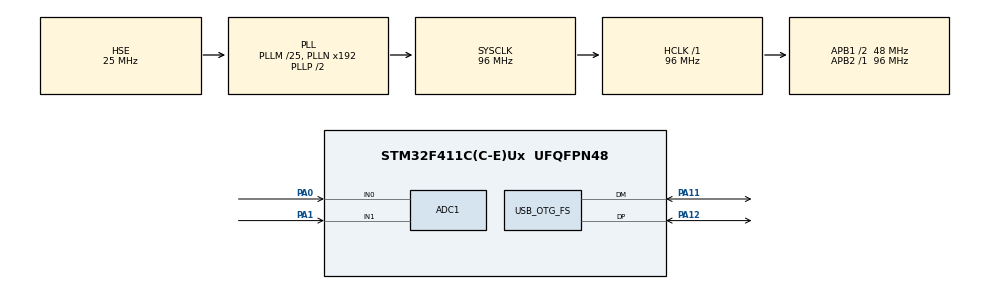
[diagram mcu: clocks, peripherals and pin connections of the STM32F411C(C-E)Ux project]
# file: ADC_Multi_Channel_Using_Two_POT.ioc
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ADC1.Channel-0\#ChannelRegularConversion=ADC_CHANNEL_0
ADC1.Channel-1\#ChannelRegularConversion=ADC_CHANNEL_1
ADC1.EOCSelection=ADC_EOC_SEQ_CONV
ADC1.NbrOfConversion=2
ADC1.NbrOfConversionFlag=1
ADC1.Rank-0\#ChannelRegularConversion=1
ADC1.Rank-1\#ChannelRegularConversion=2
ADC1.SamplingTime-0\#ChannelRegularConversion=ADC_SAMPLETIME_144CYCLES
ADC1.SamplingTime-1\#ChannelRegularConversion=ADC_SAMPLETIME_480CYCLES
ADC1.ScanConvMode=ENABLE
ADC1.master=1
Dma.ADC1.0.Direction=DMA_PERIPH_TO_MEMORY
Dma.ADC1.0.FIFOMode=DMA_FIFOMODE_DISABLE
Dma.ADC1.0.Instance=DMA2_Stream0
Dma.ADC1.0.MemDataAlignment=DMA_MDATAALIGN_HALFWORD
Dma.ADC1.0.MemInc=DMA_MINC_ENABLE
Dma.ADC1.0.Mode=DMA_NORMAL
Dma.ADC1.0.PeriphDataAlignment=DMA_PDATAALIGN_HALFWORD
Dma.ADC1.0.PeriphInc=DMA_PINC_DISABLE
Dma.ADC1.0.Priority=DMA_PRIORITY_LOW
Dma.Request0=ADC1
Mcu.Family=STM32F4
Mcu.Name=STM32F411C(C-E)Ux
Mcu.Package=UFQFPN48
NVIC.DMA2_Stream0_IRQn=true\:0\:0\:false\:false\:true\:false\:true\:true
NVIC.OTG_FS_IRQn=true\:0\:0\:false\:false\:true\:false\:true\:true
NVIC.PriorityGroup=NVIC_PRIORITYGROUP_4
PA0-WKUP.Signal=ADCx_IN0
PA1.Signal=ADCx_IN1
PA11.Mode=Device_Only
PA11.Signal=USB_OTG_FS_DM
PA12.Mode=Device_Only
PA12.Signal=USB_OTG_FS_DP
PH0\ -\ OSC_IN.Mode=HSE-External-Oscillator
PH0\ -\ OSC_IN.Signal=RCC_OSC_IN
PH1\ -\ OSC_OUT.Mode=HSE-External-Oscillator
PH1\ -\ OSC_OUT.Signal=RCC_OSC_OUT
ProjectManager.HeapSize=0x200
ProjectManager.StackSize=0x400
ProjectManager.TargetToolchain=STM32CubeIDE
RCC.48MHZClocksFreq_Value=48000000
RCC.AHBFreq_Value=96000000
RCC.APB1CLKDivider=RCC_HCLK_DIV2
RCC.APB1Freq_Value=48000000
RCC.APB1TimFreq_Value=96000000
RCC.APB2Freq_Value=96000000
RCC.APB2TimFreq_Value=96000000
RCC.CortexFreq_Value=96000000
RCC.HCLKFreq_Value=96000000
RCC.HSE_VALUE=25000000
RCC.HSI_VALUE=16000000
RCC.LSE_VALUE=32768
RCC.PLLM=25
RCC.SYSCLKFreq_VALUE=96000000
RCC.SYSCLKSource=RCC_SYSCLKSOURCE_PLLCLK
RCC.VCOOutputFreq_Value=192000000
SH.ADCx_IN0.0=ADC1_IN0,IN0
SH.ADCx_IN1.0=ADC1_IN1,IN1
USB_DEVICE.CLASS_NAME_FS=CDC
USB_DEVICE.VirtualMode=Cdc
USB_DEVICE.VirtualModeFS=Cdc_FS
USB_OTG_FS.VirtualMode=Device_Only
VP_USB_DEVICE_VS_USB_DEVICE_CDC_FS.Mode=CDC_FS
board=custom

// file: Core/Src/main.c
/* USER CODE BEGIN Header */
/**
  ******************************************************************************
  * @file           : main.c
  * @brief          : Main program body
  ******************************************************************************
  * @attention
  *
  * Copyright (c) 2025 STMicroelectronics.
  * All rights reserved.
  *
  * This software is licensed under terms that can be found in the LICENSE file
  * in the root directory of this software component.
  * If no LICENSE file comes with this software, it is provided AS-IS.
  *
  ******************************************************************************
  */
/* USER CODE END Header */
#include "main.h"
#include "usb_device.h"

/* USER CODE BEGIN Includes */
#include <stdio.h>
#include <string.h>
/* USER CODE END Includes */

ADC_HandleTypeDef hadc1;
DMA_HandleTypeDef hdma_adc1;

/* USER CODE BEGIN PV */
uint16_t pot=0;
uint16_t pot1=0;
/* USER CODE END PV */

void SystemClock_Config(void);
static void MX_GPIO_Init(void);
static void MX_DMA_Init(void);
static void MX_ADC1_Init(void);

/* USER CODE BEGIN 0 */
uint16_t ADC_Value[2];
int isADCFinished = 0;
int count = 0;
char msg[20];

void HAL_ADC_ConvCpltCallback(ADC_HandleTypeDef *hadc)
{
	isADCFinished = 1;
}
/* USER CODE END 0 */

int main(void)
{

  /* MCU Configuration--------------------------------------------------------*/

  /* Reset of all peripherals, Initializes the Flash interface and the Systick. */
  HAL_Init();

  /* Configure the system clock */
  SystemClock_Config();

  /* Initialize all configured peripherals */
  MX_GPIO_Init();
  MX_DMA_Init();
  MX_ADC1_Init();
  MX_USB_DEVICE_Init();
  /* USER CODE BEGIN 2 */
  HAL_ADC_Start_DMA(&hadc1, ADC_Value, 2);
  /* USER CODE END 2 */

  /* Infinite loop */
  while (1)
  {

    /* USER CODE BEGIN 3 */
	  count++;
	  if (isADCFinished == 1)
	  {
		  isADCFinished = 0;
		  HAL_ADC_Start_DMA(&hadc1, ADC_Value, 2);
	  }
	  pot = ADC_Value[0];
	  pot1 = ADC_Value[1];
	  sprintf(msg, "POT: %hu \r\t\t", pot);
	  CDC_Transmit_FS((uint8_t*)msg, strlen(msg));
	  sprintf(msg, "POT1: %hu \r\n", pot1);
	  CDC_Transmit_FS((uint8_t*)msg, strlen(msg));
	  HAL_Delay(10);
  }
  /* USER CODE END 3 */
}

void SystemClock_Config(void)
{
  RCC_OscInitTypeDef RCC_OscInitStruct = {0};
  RCC_ClkInitTypeDef RCC_ClkInitStruct = {0};

  /** Configure the main internal regulator output voltage
  */
  __HAL_RCC_PWR_CLK_ENABLE();
  __HAL_PWR_VOLTAGESCALING_CONFIG(PWR_REGULATOR_VOLTAGE_SCALE1);

  /** Initializes the RCC Oscillators according to the specified parameters
  * in the RCC_OscInitTypeDef structure.
  */
  RCC_OscInitStruct.OscillatorType = RCC_OSCILLATORTYPE_HSE;
  RCC_OscInitStruct.HSEState = RCC_HSE_ON;
  RCC_OscInitStruct.PLL.PLLState = RCC_PLL_ON;
  RCC_OscInitStruct.PLL.PLLSource = RCC_PLLSOURCE_HSE;
  RCC_OscInitStruct.PLL.PLLM = 25;
  RCC_OscInitStruct.PLL.PLLN = 192;
  RCC_OscInitStruct.PLL.PLLP = RCC_PLLP_DIV2;
  RCC_OscInitStruct.PLL.PLLQ = 4;
  if (HAL_RCC_OscConfig(&RCC_OscInitStruct) != HAL_OK)
  {
    Error_Handler();
  }

  /** Initializes the CPU, AHB and APB buses clocks
  */
  RCC_ClkInitStruct.ClockType = RCC_CLOCKTYPE_HCLK|RCC_CLOCKTYPE_SYSCLK
                              |RCC_CLOCKTYPE_PCLK1|RCC_CLOCKTYPE_PCLK2;
  RCC_ClkInitStruct.SYSCLKSource = RCC_SYSCLKSOURCE_PLLCLK;
  RCC_ClkInitStruct.AHBCLKDivider = RCC_SYSCLK_DIV1;
  RCC_ClkInitStruct.APB1CLKDivider = RCC_HCLK_DIV2;
  RCC_ClkInitStruct.APB2CLKDivider = RCC_HCLK_DIV1;

  if (HAL_RCC_ClockConfig(&RCC_ClkInitStruct, FLASH_LATENCY_3) != HAL_OK)
  {
    Error_Handler();
  }
}

static void MX_ADC1_Init(void)
{

  ADC_ChannelConfTypeDef sConfig = {0};

  /** Configure the global features of the ADC (Clock, Resolution, Data Alignment and number of conversion)
  */
  hadc1.Instance = ADC1;
  hadc1.Init.ClockPrescaler = ADC_CLOCK_SYNC_PCLK_DIV4;
  hadc1.Init.Resolution = ADC_RESOLUTION_12B;
  hadc1.Init.ScanConvMode = ENABLE;
  hadc1.Init.ContinuousConvMode = DISABLE;
  hadc1.Init.DiscontinuousConvMode = DISABLE;
  hadc1.Init.ExternalTrigConvEdge = ADC_EXTERNALTRIGCONVEDGE_NONE;
  hadc1.Init.ExternalTrigConv = ADC_SOFTWARE_START;
  hadc1.Init.DataAlign = ADC_DATAALIGN_RIGHT;
  hadc1.Init.NbrOfConversion = 2;
  hadc1.Init.DMAContinuousRequests = DISABLE;
  hadc1.Init.EOCSelection = ADC_EOC_SEQ_CONV;
  if (HAL_ADC_Init(&hadc1) != HAL_OK)
  {
    Error_Handler();
  }

  /** Configure for the selected ADC regular channel its corresponding rank in the sequencer and its sample time.
  */
  sConfig.Channel = ADC_CHANNEL_0;
  sConfig.Rank = 1;
  sConfig.SamplingTime = ADC_SAMPLETIME_144CYCLES;
  if (HAL_ADC_ConfigChannel(&hadc1, &sConfig) != HAL_OK)
  {
    Error_Handler();
  }

  /** Configure for the selected ADC regular channel its corresponding rank in the sequencer and its sample time.
  */
  sConfig.Channel = ADC_CHANNEL_1;
  sConfig.Rank = 2;
  sConfig.SamplingTime = ADC_SAMPLETIME_480CYCLES;
  if (HAL_ADC_ConfigChannel(&hadc1, &sConfig) != HAL_OK)
  {
    Error_Handler();
  }

}

static void MX_DMA_Init(void)
{

  /* DMA controller clock enable */
  __HAL_RCC_DMA2_CLK_ENABLE();

  /* DMA interrupt init */
  /* DMA2_Stream0_IRQn interrupt configuration */
  HAL_NVIC_SetPriority(DMA2_Stream0_IRQn, 0, 0);
  HAL_NVIC_EnableIRQ(DMA2_Stream0_IRQn);

}

static void MX_GPIO_Init(void)
{

  /* GPIO Ports Clock Enable */
  __HAL_RCC_GPIOH_CLK_ENABLE();
  __HAL_RCC_GPIOA_CLK_ENABLE();

}

void Error_Handler(void)
{
  __disable_irq();
  while (1)
  {
  }
}
